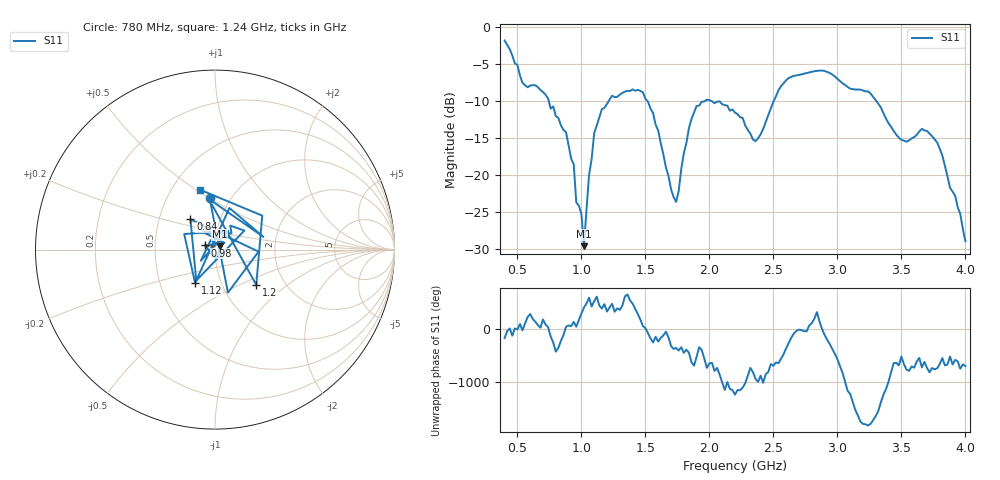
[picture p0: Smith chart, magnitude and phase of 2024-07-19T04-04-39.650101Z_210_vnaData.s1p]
!Created with skrf (http://scikit-rf.org).
# Hz S RI R 50.0
!freq ReS11 ImS11
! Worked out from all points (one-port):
!   181 points, 400 MHz to 4 GHz, reference 50 ohm
!   lowest |S11| = -29.6 dB at 1.02 GHz (marker M1), VSWR 1.07, Z = 52.8 + j1.91 ohm
!   |S11| at or under -10 dB: 745.1 MHz to 1.213 GHz (467.8 MHz wide, 47.8 % of centre); 2.019 GHz to 2.502 GHz (483.7 MHz wide, 21.4 % of centre); 3.304 GHz to end of sweep (the widest 3 of 4)
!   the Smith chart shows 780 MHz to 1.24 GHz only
!   S11 on the Smith chart (normalised r, x): 780 MHz: 0.80, +0.51; 840 MHz: 0.72, +0.26; 980 MHz: 0.89, +0.04; 1.12 GHz: 0.75, -0.29; 1.2 GHz: 1.44, -0.62; 1.24 GHz: 0.69, +0.52
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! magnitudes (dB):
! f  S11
! 400 MHz  -1.8
! 540 MHz  -7.5
! 780 MHz  -10.7
! 840 MHz  -13.3
! 860 MHz  -13.9
! 940 MHz  -18.5
! 960 MHz  -23.7
! 980 MHz  -24.1
! 1.02 GHz  -29.6
! 1.06 GHz  -20.0
! 1.12 GHz  -13.3
! 1.2 GHz  -10.4
! 1.24 GHz  -9.3
! 1.3 GHz  -9.1
! 1.48 GHz  -8.8
! 1.56 GHz  -11.6
! 1.72 GHz  -23.0
! 1.76 GHz  -22.2
! 1.84 GHz  -13.7
! 1.9 GHz  -10.7
! 2.2 GHz  -11.6
! 2.36 GHz  -15.4
! 2.66 GHz  -6.6
! 3.1 GHz  -8.3
! 3.24 GHz  -8.7
! 3.56 GHz  -15.3
! 3.78 GHz  -15.6
! 4 GHz  -28.9
